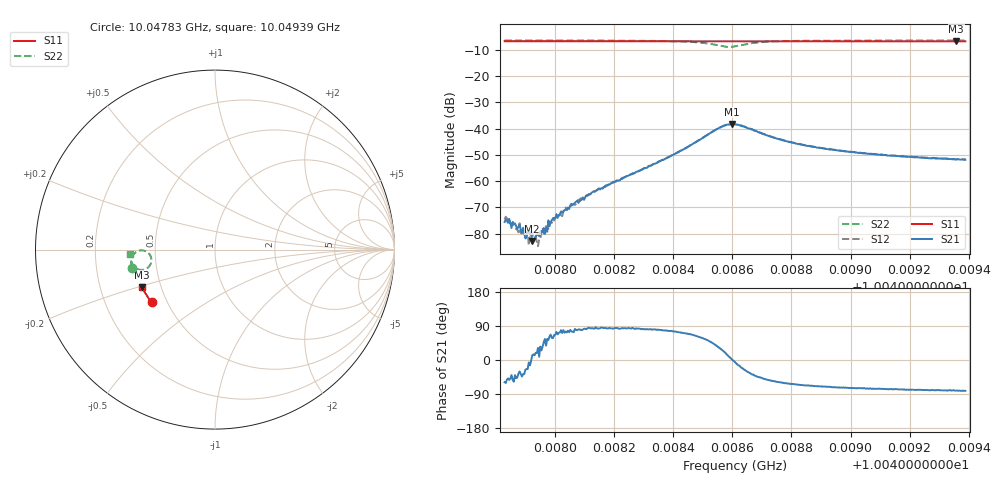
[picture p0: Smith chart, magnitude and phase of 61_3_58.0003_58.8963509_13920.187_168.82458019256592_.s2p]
#  HZ  S  RI  R  50.00
! Rohde & Schwarz Vector Network Analyzer
! Rohde-Schwarz,ZNB20-2Port,1311601062101988,3.16
! Created: UTC 3/21/2024, 12:53:00 AM
! freq[Hz]  re:S11  im:S11  re:S21  im:S21  re:S12  im:S12  re:S22  im:S22
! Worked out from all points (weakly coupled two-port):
!   401 points, 10.04783 GHz to 10.04939 GHz, reference 50 ohm
!   highest |S21| = -38.28 dB at 10.0486 GHz (marker M1); lowest = -82.8 dB at 10.04792 GHz (marker M2)
!   lowest |S11| = -6.8 dB at 10.04936 GHz (marker M3), VSWR 2.68, Z = 19.6 - j10.3 ohm
!   |S11| at or under -10 dB: nowhere
!   |S22| runs from -8.9 to -6.5 dB; largest |S21 - S12| = 0.00093
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1.0047828e10  -0.3532 -0.2942  8.69e-05 -0.000142  0.000133 -0.000128  -0.4641 -0.1013
1.004784e10  -0.3537 -0.2936  0.000106 -0.00012  0.00011 -0.00015  -0.4643 -0.1003
1.0047867e10  -0.3547 -0.2922  9.35e-05 -0.000103  0.000102 -6.59e-05  -0.4647 -0.0982
1.0047895e10  -0.356 -0.2907  8.12e-05 -6.17e-05  0.000108 -5.46e-05  -0.4651 -0.0958
1.0047922e10  -0.357 -0.2893  7.1e-05 1.53e-05  9.7e-05 2e-05  -0.4653 -0.0936
1.0047941e10  -0.3579 -0.2882  8.1e-05 5.07e-05  3.39e-05 4.65e-05  -0.4655 -0.092
1.0047965e10  -0.3587 -0.2869  5.56e-05 8.11e-05  4.63e-05 0.00011  -0.4657 -0.09
1.0047969e10  -0.3589 -0.2867  9.81e-05 7.65e-05  8.76e-05 0.000108  -0.4658 -0.0896
1.0047996e10  -0.3601 -0.2852  8.14e-05 0.00018  4.32e-05 0.000171  -0.466 -0.0873
1.0048058e10  -0.3624 -0.2819  9.31e-05 0.000342  6.18e-05 0.00035  -0.4665 -0.0815
1.004809e10  -0.3637 -0.2802  8e-05 0.000435  3.75e-05 0.00046  -0.4666 -0.0784
1.004814e10  -0.3658 -0.2776  7.56e-05 0.000674  3.43e-05 0.000666  -0.4668 -0.0732
1.0048351e10  -0.3736 -0.2658  0.000423 0.00231  0.000306 0.00233  -0.4626 -0.0443
1.0048531e10  -0.3797 -0.2553  0.006 0.00615  0.00566 0.00648  -0.4041 -0.00397
1.004857e10  -0.3807 -0.2533  0.0103 0.00438  0.0101 0.00501  -0.3654 -0.0253
1.0048597e10  -0.3813 -0.2522  0.0122 0.000578  0.0121 0.00146  -0.3542 -0.0623
1.0048609e10  -0.3816 -0.2516  0.0119 -0.00121  0.0122 -0.000394  -0.3579 -0.0788
1.0048702e10  -0.3855 -0.2469  0.00525 -0.00594  0.00571 -0.00561  -0.4301 -0.1092
1.004887e10  -0.3914 -0.2373  0.00169 -0.00416  0.00192 -0.00416  -0.4637 -0.0758
1.0049131e10  -0.4 -0.2221  0.000698 -0.00297  0.000872 -0.00295  -0.472 -0.0454
1.0049358e10  -0.4065 -0.2086  0.000403 -0.00254  0.000574 -0.00251  -0.474 -0.0261
1.0049389e10  -0.4076 -0.2068  0.000385 -0.00252  0.000523 -0.00251  -0.4742 -0.0236
